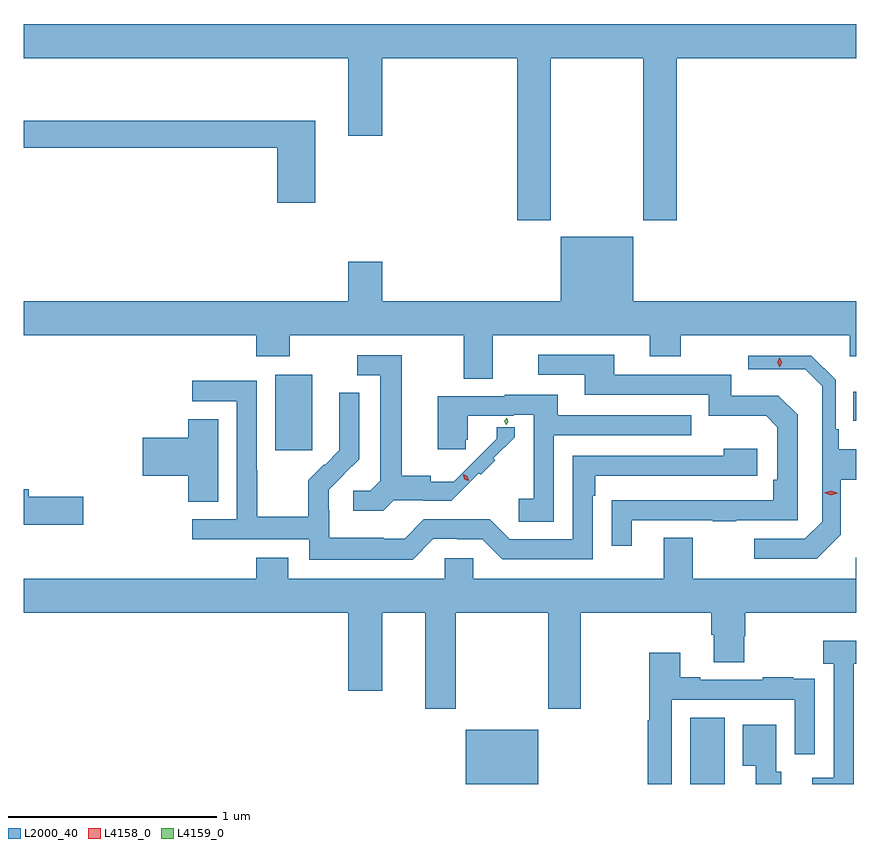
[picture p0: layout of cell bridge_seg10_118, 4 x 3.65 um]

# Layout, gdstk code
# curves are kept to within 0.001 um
import gdstk
lib = gdstk.Library(unit=1e-6, precision=1e-09)
def R(c, l, rs):  # rectangles x0, y0, x1, y1
    for r in rs: c.add(gdstk.rectangle(r[:2], r[2:], *l))
def P(c, l, *ps):  # polygons
    for p in ps: c.add(gdstk.Polygon(p, *l))
L2000_40 = (2000, 40)
L4158_0 = (4158, 0)
L4159_0 = (4159, 0)

bridge_seg10_118 = lib.new_cell('bridge_seg10_118')
R(bridge_seg10_118, L2000_40, [(393.344,1262.197,393.694,1262.458), (394.424,1262.197,394.588,1262.516), (392.429,1263.801,392.608,1264.162), (395.206,1263.943,395.221,1264.081)])
P(bridge_seg10_118, L2000_40, [(393.753,1265.684),(394.198,1265.684),(394.198,1264.905),(394.358,1264.905),(394.358,1265.684),(395.221,1265.684),(395.221,1265.848),(391.221,1265.848),(391.221,1265.684),(392.78,1265.684),(392.78,1265.31),(392.944,1265.31),(392.944,1265.684),(393.593,1265.684),(393.593,1264.905),(393.753,1264.905)],
  [(392.621,1265.383),(391.221,1265.383),(391.221,1265.254),(392.438,1265.254),(392.438,1264.989),(392.621,1264.989)],
  [(393.475,1264.352),(394.229,1264.352),(394.229,1264.253),(394.377,1264.253),(394.377,1264.352),(395.189,1264.352),(395.189,1264.253),(395.221,1264.253),(395.221,1264.516),(394.15,1264.516),(394.15,1264.825),(393.8,1264.825),(393.8,1264.516),(392.944,1264.516),(392.944,1264.705),(392.78,1264.705),(392.78,1264.516),(391.221,1264.516),(391.221,1264.352),(392.339,1264.352),(392.339,1264.253),(392.499,1264.253),(392.499,1264.352),(393.335,1264.352),(393.335,1264.144),(393.475,1264.144)],
  [(394.141,1263.465),(394.531,1263.465),(394.531,1263.46),(394.643,1263.46),(394.643,1263.465),(394.939,1263.465),(394.939,1263.971),(394.847,1264.063),(394.621,1264.063),(394.621,1264.164),(394.057,1264.164),(394.057,1264.26),(393.693,1264.26),(393.693,1264.164),(393.917,1264.164),(393.917,1264.068),(394.512,1264.068),(394.512,1263.965),(394.789,1263.965),(394.842,1263.912),(394.842,1263.658),(394.822,1263.658),(394.822,1263.561),(394.045,1263.56),(394.045,1263.342),(394.141,1263.342)],
  [(393,1263.561),(393.141,1263.561),(393.141,1263.558),(393.274,1263.558),(393.407,1263.691),(393.417,1263.682),(393.487,1263.752),(393.478,1263.762),(393.579,1263.863),(393.579,1263.911),(393.494,1263.911),(393.494,1263.856),(393.286,1263.648),(393.177,1263.648),(393.177,1263.677),(393.037,1263.677),(393.037,1264.257),(392.823,1264.257),(392.823,1264.161),(392.933,1264.161),(392.933,1263.653),(392.886,1263.606),(392.805,1263.606),(392.805,1263.509),(392.948,1263.509)],
  [(395.147,1263.395),(395.147,1263.658),(395.221,1263.658),(395.221,1263.805),(395.137,1263.805),(395.137,1263.901),(395.121,1263.901),(395.121,1264.138),(395.005,1264.254),(394.701,1264.254),(394.701,1264.19),(394.975,1264.19),(395.057,1264.108),(395.057,1263.458),(394.974,1263.375),(394.731,1263.375),(394.731,1263.279),(395.031,1263.279)],
  [(393.189,1263.375),(393.305,1263.375),(393.305,1263.372),(393.423,1263.372),(393.519,1263.276),(393.954,1263.276),(393.954,1263.581),(393.967,1263.581),(393.967,1263.678),(394.744,1263.678),(394.744,1263.808),(394.583,1263.808),(394.583,1263.774),(393.858,1263.774),(393.858,1263.372),(393.555,1263.372),(393.459,1263.468),(393.144,1263.468),(393.051,1263.375),(392.951,1263.375),(392.951,1263.379),(392.688,1263.379),(392.688,1263.513),(392.686,1263.513),(392.686,1263.61),(392.832,1263.758),(392.832,1264.076),(392.736,1264.076),(392.736,1263.922),(392.738,1263.922),(392.738,1263.8),(392.667,1263.729),(392.664,1263.732),(392.587,1263.655),(392.587,1263.481),(392.343,1263.481),(392.343,1263.704),(392.34,1263.704),(392.34,1264.134),(392.031,1264.134),(392.031,1264.035),(392.244,1264.035),(392.244,1263.468),(392.031,1263.468),(392.031,1263.372),(392.592,1263.372),(392.592,1263.275),(393.089,1263.275)],
  [(393.768,1263.873),(394.427,1263.873),(394.427,1263.969),(393.787,1263.969),(393.787,1264.067),(393.533,1264.067),(393.533,1264.059),(393.209,1264.059),(393.209,1263.805),(393.345,1263.805),(393.345,1263.851),(393.354,1263.851),(393.354,1263.966),(393.575,1263.966),(393.575,1263.971),(393.672,1263.971),(393.672,1263.568),(393.6,1263.568),(393.6,1263.457),(393.768,1263.457)],
  [(392.155,1263.95),(392.012,1263.95),(392.012,1263.86),(391.794,1263.86),(391.794,1263.677),(392.012,1263.677),(392.012,1263.553),(392.155,1263.553)],
  [(391.507,1263.578),(391.246,1263.578),(391.246,1263.614),(391.221,1263.614),(391.221,1263.443),(391.507,1263.443)],
  [(393.297,1263.02),(393.742,1263.02),(393.742,1262.559),(393.897,1262.559),(393.897,1263.02),(394.523,1263.02),(394.523,1262.914),(394.535,1262.914),(394.535,1262.782),(394.683,1262.782),(394.683,1262.907),(394.688,1262.907),(394.688,1263.02),(395.221,1263.02),(395.221,1263.283),(395.219,1263.283),(395.219,1263.184),(394.435,1263.184),(394.435,1263.379),(394.295,1263.379),(394.295,1263.184),(393.381,1263.184),(393.381,1263.282),(393.243,1263.282),(393.243,1263.184),(392.491,1263.184),(392.491,1263.283),(392.339,1263.283),(392.339,1263.184),(391.221,1263.184),(391.221,1263.02),(392.78,1263.02),(392.78,1262.646),(392.944,1262.646),(392.944,1263.02),(393.149,1263.02),(393.149,1262.559),(393.297,1262.559)],
  [(395.208,1262.775),(395.221,1262.775),(395.221,1262.884),(395.061,1262.884),(395.061,1262.774),(395.112,1262.774),(395.112,1262.226),(395.01,1262.226),(395.01,1262.197),(395.208,1262.197)],
  [(394.335,1262.601),(394.926,1262.601),(394.926,1262.34),(395.022,1262.34),(395.022,1262.594),(395.021,1262.594),(395.021,1262.703),(394.919,1262.703),(394.919,1262.71),(394.771,1262.71),(394.771,1262.697),(394.471,1262.697),(394.471,1262.71),(394.375,1262.71),(394.375,1262.827),(394.227,1262.827),(394.227,1262.504),(394.219,1262.504),(394.219,1262.197),(394.335,1262.197)],
  [(394.861,1262.256),(394.837,1262.256),(394.837,1262.482),(394.676,1262.482),(394.676,1262.285),(394.739,1262.285),(394.739,1262.197),(394.861,1262.197)])
P(bridge_seg10_118, L4158_0, [(395.099,1263.585),(395.065,1263.596),(395.065,1263.597),(395.065,1263.597),(395.1,1263.605),(395.135,1263.593),(395.135,1263.593),(395.135,1263.593)],
  [(394.852,1264.199),(394.852,1264.199),(394.842,1264.222),(394.852,1264.245),(394.852,1264.245),(394.853,1264.245),(394.862,1264.222),(394.853,1264.199)],
  [(393.357,1263.654),(393.337,1263.662),(393.332,1263.683),(393.332,1263.684),(393.332,1263.684),(393.352,1263.675),(393.358,1263.654),(393.358,1263.654)])
P(bridge_seg10_118, L4159_0, [(393.539,1263.922),(393.539,1263.922),(393.53,1263.94),(393.542,1263.956),(393.542,1263.956),(393.542,1263.956),(393.55,1263.938),(393.539,1263.922)])

lib.write_gds('bridge_seg10_118.gds')
